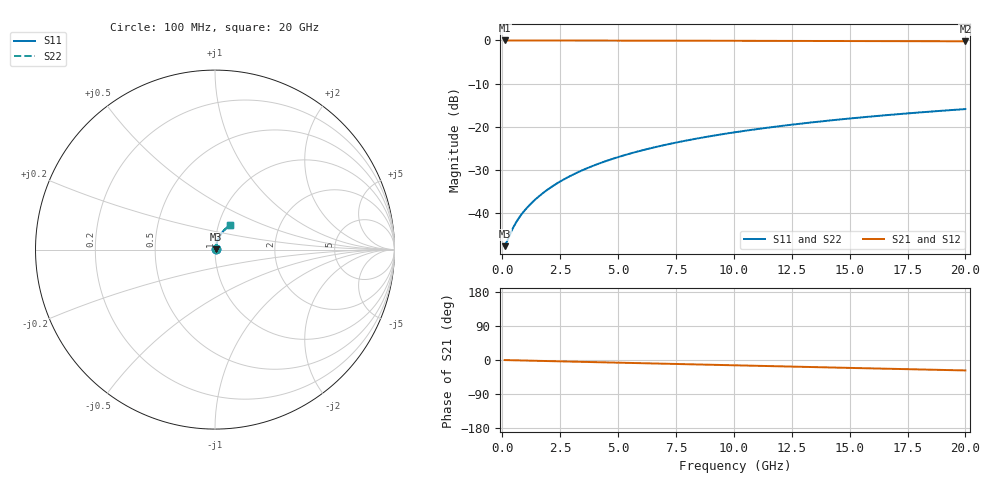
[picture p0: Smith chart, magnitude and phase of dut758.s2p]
! Touchstone file exported from HFSS 2026.1.0
!  File:  C:/ffzhzh/LocalFiles/Ansys_Project_Files/temp_train_BSMRDL_758_1783168977_22436.aedt
!  Generated:  08:44:05 PM Jul  4, 2026
!  Design:  BSMRDL
!  Project:  temp_train_BSMRDL_758_1783168977_22436
! Variables:
!  h_bsmrdl = 2.59um
!  h_ox = 20um
!  h_rdl = 5um
!  h_sub = 80um
!  h_tmrdl = 5um
!  h_tsv = 80um
!  h_via = 3um
!  l_bsmrdl = 455.62um
!  l_sub = 855.62um
!  l_tmrdl = 200um
!  m_sub = 200um
!  pitch = 24.37um
!  r_tsv = 6um
!  s_tmrdl = 10um
!  w_bsmrdl = 16.37um
!  w_sub = 500um
!  w_tmrdl = 12um
!  x_tsv_center1 = 206um
!  x_tsv_center2 = 677.99um
!  x_tsv_center3 = 889.99um
!  x_tsv_center4 = 1361.98um
!  x_tsv_center5 = 1573.98um
!  x_tsv_center6 = 2045.97um
# GHz S MA R 50.000000
! Terminal data exported
! Port[1] = BSM_RDL1_1_T1
! Port[2] = BSM_RDL1_1_T2
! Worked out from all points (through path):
!   200 points, 100 MHz to 20 GHz, reference 50 ohm
!   highest |S21| = -0.04 dB at 100 MHz (marker M1); lowest = -0.2 dB at 20 GHz (marker M2)
!   group delay of S21, straight-line fit = 3.82 ps
!   lowest |S11| = -47.6 dB at 100 MHz (marker M3), VSWR 1.01, Z = 50.4 + j0.117 ohm
!   |S11| at or under -10 dB: start of sweep to end of sweep
!   |S22| runs from -47.6 to -15.9 dB; largest |S21 - S12| = 2.7e-15
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0.1  0.004188 16.0  0.996 -0.2  0.996 -0.2  0.004188 16.0
! Gamma 0 0 0 0
! Port Impedance 50 0 50 0
0.2  0.004733 28.7  0.9959 -0.3  0.9959 -0.3  0.004733 28.7
0.4  0.006274 43.8  0.9955 -0.6  0.9955 -0.6  0.006274 43.8
0.6  0.007915 51.4  0.9951 -0.9  0.9951 -0.9  0.007915 51.4
0.7  0.008721 54.1  0.995 -1.0  0.995 -1.0  0.008721 54.1
0.9  0.01031 58.3  0.9947 -1.3  0.9947 -1.3  0.01031 58.3
1.1  0.0119 61.4  0.9946 -1.6  0.9946 -1.6  0.01189 61.4
1.3  0.01349 63.9  0.9944 -1.9  0.9944 -1.9  0.01349 63.9
1.8  0.01756 68.3  0.9941 -2.6  0.9941 -2.6  0.01756 68.3
2.3  0.02172 70.9  0.9939 -3.3  0.9939 -3.3  0.02172 70.9
2.9  0.0268 72.7  0.9936 -4.1  0.9936 -4.1  0.0268 72.7
3.5  0.03192 73.7  0.9932 -5.0  0.9932 -5.0  0.03192 73.7
4.2  0.03791 74.2  0.9928 -6.0  0.9928 -6.0  0.03791 74.2
5  0.04475 74.2  0.9922 -7.1  0.9922 -7.1  0.04475 74.2
5.9  0.0524 73.8  0.9915 -8.3  0.9915 -8.3  0.0524 73.8
6.8  0.05999 73.2  0.9907 -9.6  0.9907 -9.6  0.05999 73.2
8.3  0.07246 71.8  0.9892 -11.7  0.9892 -11.7  0.07246 71.8
10.1  0.0871 69.8  0.9871 -14.2  0.9871 -14.2  0.08709 69.8
11.7  0.09978 67.9  0.9851 -16.4  0.9851 -16.4  0.09978 68.0
13.4  0.1129 65.9  0.9829 -18.7  0.9829 -18.7  0.1129 65.9
16.7  0.1374 61.8  0.9783 -23.1  0.9783 -23.1  0.1374 61.8
20  0.1606 57.7  0.9736 -27.6  0.9736 -27.6  0.1606 57.7
